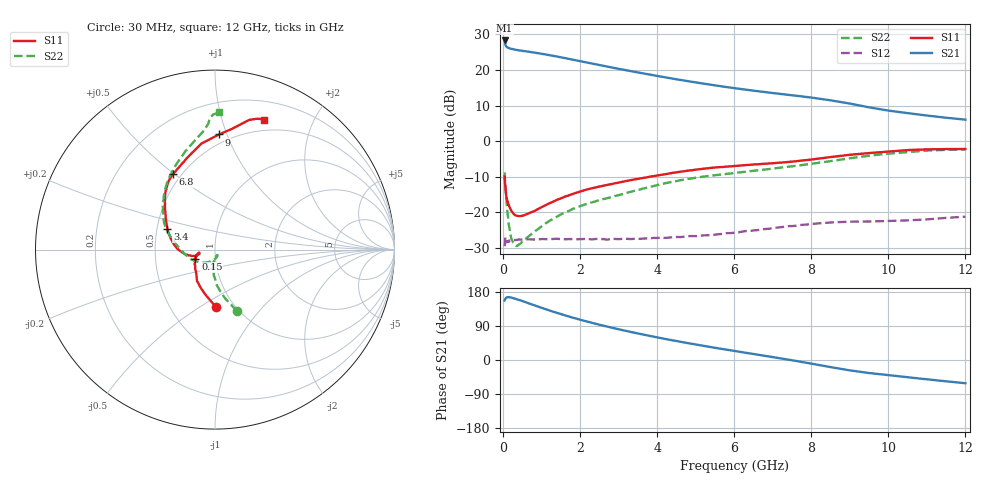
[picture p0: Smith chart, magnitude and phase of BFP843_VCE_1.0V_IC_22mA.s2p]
! Infineon Technologies  Discrete & RF Semiconductors
! BFP843
! VCE =  1.0 V,  IC =  22 mA
! Common Emitter S-Parameters:  Aug 2013
# GHz  S  MA  R  50
!  f  S11  S21  S12  S22
! GHz  MAG  ANG  MAG  ANG  MAG  ANG  MAG  ANG
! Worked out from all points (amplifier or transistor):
!   103 points, 30 MHz to 12 GHz, reference 50 ohm
!   highest |S21| = 28.3 dB at 30 MHz (marker M1)
!   |S21| within 3 dB of that: start of sweep to 549.3 MHz
!   unconditionally stable (mu >= 1): 113.6 MHz to 10.98 GHz
!   at 400 MHz: K = 1.02, MAG = 25.7 dB, |S12| = -27.7 dB
!   at 3.7 GHz: K = 1.35, MAG = 19.6 dB, |S12| = -27.4 dB
!   at 12 GHz: K = 0.90, MSG = 13.6 dB, |S12| = -21.3 dB
!   S11 on the Smith chart (normalised r, x): 30 MHz: 0.82, -0.58; 150 MHz: 0.80, -0.08; 3.4 GHz: 0.57, +0.14; 6.8 GHz: 0.45, +0.49; 9 GHz: 0.43, +0.94; 12 GHz: 0.38, +1.38
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0.03  0.3181 -89.3  25.97 157.1  0.0333 27.8  0.3628 -70.4
0.04  0.2575 -101.8  23.85 159.1  0.0365 21.1  0.2803 -77.9
0.05  0.2282 -110.2  22.75 162.0  0.0444 17.9  0.2361 -82.6
0.07  0.1732 -126.8  21.43 164.1  0.0383 13.3  0.1596 -90.1
0.1  0.1409 -141.2  20.74 165.6  0.0383 11.0  0.1018 -94.9
0.15  0.1201 -155.0  20.25 165.6  0.0399 8.3  0.0621 -94.7
0.3  0.0907 -168.8  19.28 161.9  0.0404 6.1  0.0341 -73.3
0.7  0.0986 -163.4  17.88 148.0  0.0415 3.8  0.048 -84.0
1.1  0.1262 -163.9  16.5 134.0  0.0418 2.4  0.07 -110.7
1.3  0.1411 -166.7  15.75 127.2  0.0421 2.0  0.0812 -120.3
1.6  0.1657 -170.8  14.67 117.8  0.0416 1.7  0.0992 -132.6
2.1  0.2035 -179.9  12.93 103.3  0.042 2.6  0.1273 -149.7
2.7  0.2423 169.3  11.13 88.0  0.0411 3.2  0.1578 -166.4
3.4  0.2887 156.7  9.427 72.1  0.0423 3.6  0.2 177.7
4.1  0.3356 145.1  8.049 57.6  0.0442 5.9  0.2478 165.4
5  0.3972 134.7  6.676 40.9  0.0461 8.2  0.3056 155.1
6.1  0.4499 126.0  5.456 22.3  0.052 10.2  0.3611 143.4
6.8  0.4805 119.2  4.883 10.8  0.0581 8.8  0.3985 136.1
8.5  0.5959 97.2  3.739 -18.8  0.0717 -0.6  0.5223 114.4
9  0.6417 88.0  3.367 -27.4  0.0737 -4.3  0.5735 106.6
10.5  0.7473 75.2  2.472 -45.4  0.0767 -11.0  0.6993 93.2
12  0.7735 69.2  1.999 -61.3  0.0865 -17.5  0.7647 88.4
